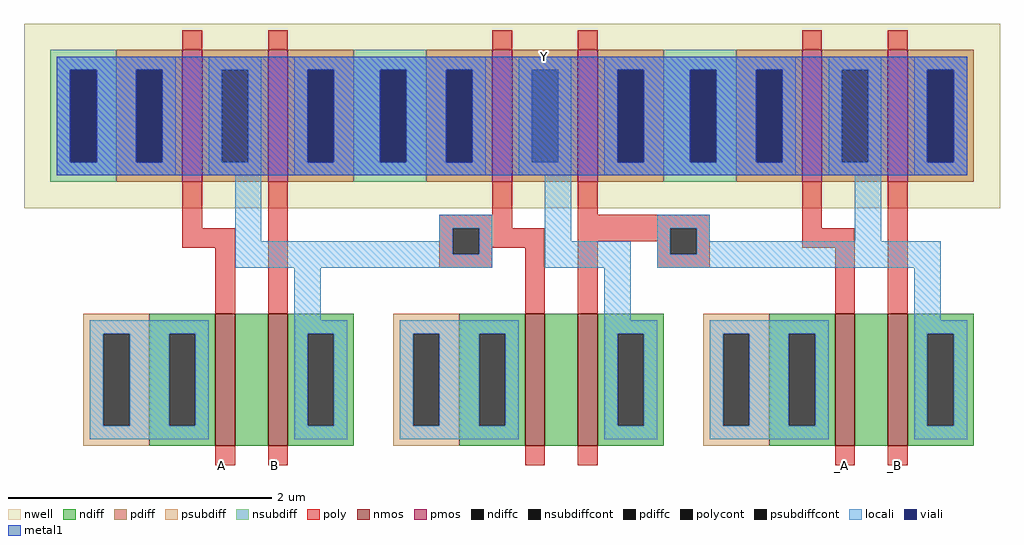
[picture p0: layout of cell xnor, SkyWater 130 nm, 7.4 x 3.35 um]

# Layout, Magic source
magic
tech sky130A
<< nwell >>
rect 250 310 255 315
rect 245 220 260 310
rect 250 215 255 220
rect 480 215 495 315
<< pdiff >>
rect 245 220 250 310
rect 480 215 485 315
<< nsubdiff >>
rect 250 310 255 315
rect 250 220 260 310
rect 250 215 255 220
rect 485 215 495 315
<< poly >>
rect 315 180 355 190
rect 315 160 325 180
rect 345 160 355 180
rect 430 180 520 190
rect 430 170 490 180
rect 315 150 355 160
rect 480 160 490 170
rect 510 160 520 180
rect 480 150 520 160
<< polycont >>
rect 325 160 345 180
rect 490 160 510 180
<< locali >>
rect 245 220 260 310
rect 375 220 415 310
rect 480 220 495 310
rect 315 180 355 190
rect 315 170 325 180
rect 205 160 325 170
rect 345 160 355 180
rect 205 150 355 160
rect 480 180 520 190
rect 480 160 490 180
rect 510 170 520 180
rect 510 160 630 170
rect 480 150 630 160
<< metal1 >>
rect 245 220 260 310
rect 480 220 495 310
use nand2  nand2_0
transform 1 0 95 0 1 15
box -95 -15 175 320
use nand2  nand2_1
transform 1 0 330 0 1 15
box -95 -15 175 320
use nand2  nand2_2
transform 1 0 565 0 1 15
box -95 -15 175 320
<< labels >>
flabel space 150 0 150 0 5 FreeSans 160 0 0 0 A
port 2 s
flabel space 190 0 190 0 5 FreeSans 160 0 0 0 B
port 3 s
flabel space 620 0 620 0 5 FreeSans 160 0 0 0 _A
port 4 s
flabel space 660 0 660 0 5 FreeSans 160 0 0 0 _B
port 5 s
flabel locali 395 310 395 310 1 FreeSans 160 0 0 0 Y
port 1 n
<< end >>

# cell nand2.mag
magic
tech sky130A
<< nwell >>
rect -95 180 175 320
<< nmos >>
rect 50 0 65 100
rect 90 0 105 100
<< pmos >>
rect 25 200 40 300
rect 90 200 105 300
<< ndiff >>
rect 0 85 50 100
rect 0 15 15 85
rect 35 15 50 85
rect 0 0 50 15
rect 65 0 90 100
rect 105 85 155 100
rect 105 15 120 85
rect 140 15 155 85
rect 105 0 155 15
<< pdiff >>
rect -25 285 25 300
rect -25 215 -10 285
rect 10 215 25 285
rect -25 200 25 215
rect 40 285 90 300
rect 40 215 55 285
rect 75 215 90 285
rect 40 200 90 215
rect 105 285 155 300
rect 105 215 120 285
rect 140 215 155 285
rect 105 200 155 215
<< ndiffc >>
rect 15 15 35 85
rect 120 15 140 85
<< pdiffc >>
rect -10 215 10 285
rect 55 215 75 285
rect 120 215 140 285
<< psubdiff >>
rect -50 85 0 100
rect -50 15 -35 85
rect -15 15 0 85
rect -50 0 0 15
<< nsubdiff >>
rect -75 285 -25 300
rect -75 215 -60 285
rect -40 215 -25 285
rect -75 200 -25 215
<< psubdiffcont >>
rect -35 15 -15 85
<< nsubdiffcont >>
rect -60 215 -40 285
<< poly >>
rect 25 300 40 315
rect 90 300 105 315
rect 25 165 40 200
rect 25 150 65 165
rect 50 100 65 150
rect 90 100 105 200
rect 50 -15 65 0
rect 90 -15 105 0
<< locali >>
rect -70 285 20 295
rect -70 215 -60 285
rect -40 215 -10 285
rect 10 215 20 285
rect -70 205 20 215
rect 45 285 85 295
rect 45 215 55 285
rect 75 215 85 285
rect 45 205 85 215
rect 110 285 150 295
rect 110 215 120 285
rect 140 215 150 285
rect 110 205 150 215
rect 65 155 85 205
rect 65 135 130 155
rect 110 95 130 135
rect -45 85 45 95
rect -45 15 -35 85
rect -15 15 15 85
rect 35 15 45 85
rect -45 5 45 15
rect 110 85 150 95
rect 110 15 120 85
rect 140 15 150 85
rect 110 5 150 15
<< viali >>
rect -60 215 -40 285
rect -10 215 10 285
rect 120 215 140 285
<< metal1 >>
rect -70 285 150 295
rect -70 215 -60 285
rect -40 215 -10 285
rect 10 215 120 285
rect 140 215 150 285
rect -70 205 150 215
<< labels >>
flabel poly 55 -15 55 -15 1 FreeSans 160 0 0 0 A
port 1 n
flabel poly 95 -15 95 -15 1 FreeSans 160 0 0 0 B
port 2 n
flabel locali 65 295 65 295 5 FreeSans 160 0 0 0 Y
port 3 s
flabel locali -45 50 -45 50 3 FreeSans 160 0 0 0 VN
port 5 e
flabel locali -70 250 -70 250 3 FreeSans 160 0 0 0 VP
port 4 e
<< end >>
